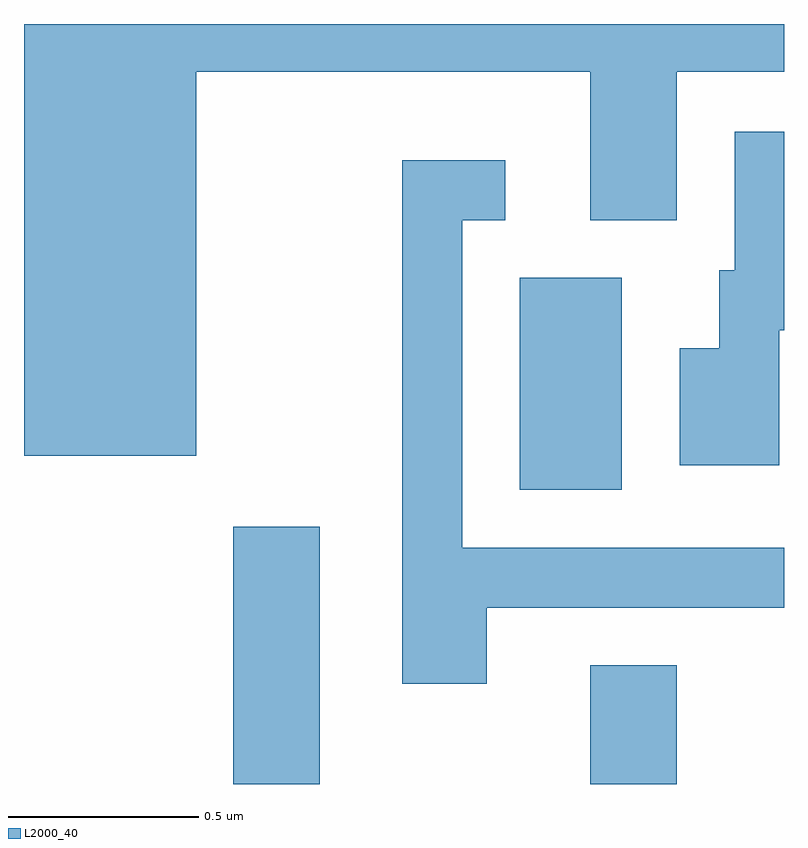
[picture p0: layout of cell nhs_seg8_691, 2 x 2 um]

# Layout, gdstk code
import gdstk
lib = gdstk.Library(unit=1e-6, precision=1e-09)
def R(c, l, rs):  # rectangles x0, y0, x1, y1
    for r in rs: c.add(gdstk.rectangle(r[:2], r[2:], *l))
def P(c, l, *ps):  # polygons
    for p in ps: c.add(gdstk.Polygon(p, *l))
L2000_40 = (2000, 40)

nhs_seg8_691 = lib.new_cell('nhs_seg8_691')
R(nhs_seg8_691, L2000_40, [(191.161,1812.342,191.389,1813.019), (192.101,1812.342,192.329,1812.654), (191.916,1813.116,192.184,1813.674)])
P(nhs_seg8_691, L2000_40, [(191.064,1814.216),(192.101,1814.216),(192.101,1813.826),(192.329,1813.826),(192.329,1814.216),(192.611,1814.216),(192.611,1814.342),(190.611,1814.342),(190.611,1813.206),(191.064,1813.206)],
  [(192.599,1813.536),(192.611,1813.536),(192.611,1814.059),(192.481,1814.059),(192.481,1813.694),(192.441,1813.694),(192.441,1813.489),(192.336,1813.489),(192.336,1813.181),(192.599,1813.181)],
  [(191.829,1812.806),(192.611,1812.806),(192.611,1812.964),(191.764,1812.964),(191.764,1813.826),(191.878,1813.826),(191.878,1813.984),(191.606,1813.984),(191.606,1812.606),(191.829,1812.606)])

lib.write_gds('nhs_seg8_691.gds')
